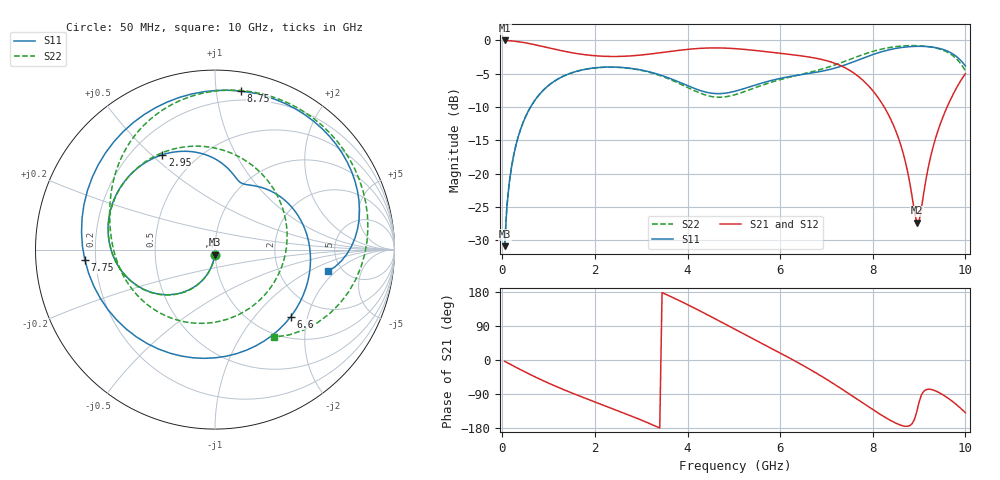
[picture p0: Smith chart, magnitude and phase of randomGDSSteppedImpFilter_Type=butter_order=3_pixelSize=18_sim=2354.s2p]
! freq	dB(S11)	phase(S11)	dB(S12)	phase(S12)
!  dB(S21)	phase(S21)	dB(S22)	phase(S22)
!S-par simulation data
#  GHz  S  DB  R 50
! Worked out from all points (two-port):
!   200 points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, 50 MHz to 10 GHz, reference 50 ohm
!   highest |S21| = -0.01 dB at 50 MHz (marker M1); lowest = -27.4 dB at 8.95 GHz (marker M2)
!   |S21| within 3 dB of the highest: start of sweep to 6.983 GHz
!   lowest |S11| = -30.9 dB at 50 MHz (marker M3), VSWR 1.06, Z = 49.7 - j2.84 ohm
!   |S11| at or under -10 dB: start of sweep to 610.4 MHz
!   |S22| runs from -30.9 to -0.8 dB; largest |S21 - S12| = 0
!   S11 on the Smith chart (normalised r, x): 50 MHz: 0.99, -0.06; 2.95 GHz: 0.33, +0.54; 6.6 GHz: 1.44, -1.58; 7.75 GHz: 0.16, -0.04; 8.75 GHz: 0.13, +1.17; 10 GHz: 3.91, -1.60
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0.05  -30.87 -93.5  -0.01 -3.3  -0.01 -3.3  -30.87 -93.4
0.1  -24.88 -96.9  -0.02 -6.6  -0.02 -6.6  -24.88 -96.8
0.2  -18.96 -103.6  -0.08 -13.1  -0.08 -13.1  -18.96 -103.5
0.5  -11.49 -122.7  -0.37 -32.1  -0.37 -32.1  -11.49 -122.4
1.05  -6.48 -154.5  -1.20 -63.8  -1.20 -63.8  -6.48 -154.2
1.75  -4.39 170.9  -2.11 -98.9  -2.11 -98.9  -4.40 170.3
2.3  -4.00 146.4  -2.41 -124.7  -2.41 -124.7  -4.01 143.4
2.95  -4.38 119.0  -2.22 -155.9  -2.22 -155.9  -4.43 109.0
3.4  -5.16 101.0  -1.86 -179.3  -1.86 -179.3  -5.26 80.6
4.25  -7.47 75.0  -1.20 130.7  -1.20 130.7  -7.85 7.6
5.05  -7.58 58.3  -1.25 79.5  -1.25 79.5  -8.10 -79.8
5.85  -5.94 19.2  -1.81 28.2  -1.81 28.2  -6.18 -143.5
6.6  -4.98 -41.5  -2.47 -21.7  -2.47 -21.7  -4.85 177.2
6.7  -4.87 -51.4  -2.58 -28.8  -2.58 -28.8  -4.68 172.8
7.25  -4.02 -113.6  -3.62 -70.2  -3.62 -70.2  -3.51 149.5
7.75  -2.77 -175.4  -5.75 -110.8  -5.75 -110.8  -2.22 125.6
8.05  -2.01 149.6  -7.98 -134.9  -7.98 -134.9  -1.55 108.8
8.35  -1.42 117.8  -11.30 -157.2  -11.30 -157.2  -1.08 90.4
8.75  -0.97 80.7  -19.62 -175.0  -19.62 -175.0  -0.79 63.7
8.95  -0.89 64.1  -27.36 -136.4  -27.36 -136.4  -0.79 49.2
9.55  -1.43 18.9  -10.89 -94.5  -10.89 -94.5  -1.57 -1.7
10  -3.83 -10.7  -4.99 -139.1  -4.99 -139.1  -4.60 -56.0
